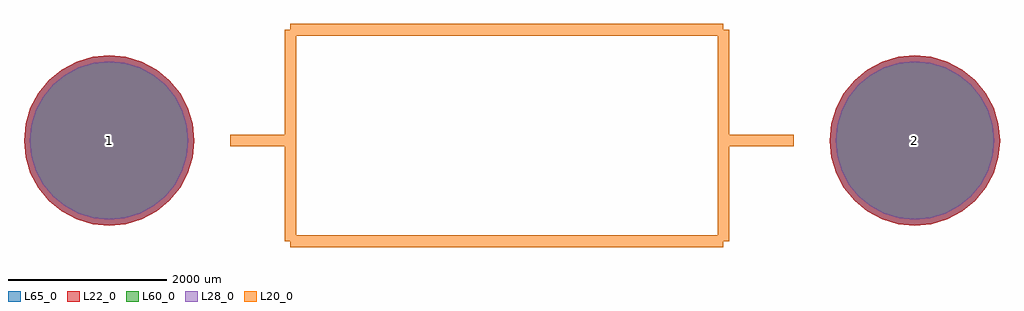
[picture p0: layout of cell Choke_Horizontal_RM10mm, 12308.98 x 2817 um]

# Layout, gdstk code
import gdstk
lib = gdstk.Library(unit=1e-6, precision=1e-09)
def P(c, l, *ps):  # polygons
    for p in ps: c.add(gdstk.Polygon(p, *l))
L20_0 = (20, 0)
L22_0 = (22, 0)
L28_0 = (28, 0)
L60_0 = (60, 0)
L65_0 = (65, 0)

choke_horizontal_rm10mm = lib.new_cell('Choke_Horizontal_RM10mm')
P(choke_horizontal_rm10mm, L22_0, [(6233.23,0),(6212.584,209.623),(6151.439,411.19),(6052.146,596.955),(5918.519,759.779),(5755.695,893.406),(5569.93,992.699),(5368.363,1053.844),(5158.74,1074.49),(4949.117,1053.844),(4747.55,992.699),(4561.785,893.406),(4398.961,759.779),(4265.334,596.955),(4166.041,411.19),(4104.896,209.623),(4084.25,0),(4104.896,-209.623),(4166.041,-411.19),(4265.334,-596.955),(4398.961,-759.779),(4561.785,-893.406),(4747.55,-992.699),(4949.117,-1053.844),(5158.74,-1074.49),(5368.363,-1053.844),(5569.93,-992.699),(5755.695,-893.406),(5918.519,-759.779),(6052.146,-596.955),(6151.439,-411.19),(6212.584,-209.623)],
  [(-3926.77,0),(-3947.416,209.623),(-4008.561,411.19),(-4107.854,596.955),(-4241.481,759.779),(-4404.305,893.406),(-4590.07,992.699),(-4791.637,1053.844),(-5001.26,1074.49),(-5210.883,1053.844),(-5412.45,992.699),(-5598.215,893.406),(-5761.039,759.779),(-5894.666,596.955),(-5993.959,411.19),(-6055.104,209.623),(-6075.75,0),(-6055.104,-209.623),(-5993.959,-411.19),(-5894.666,-596.955),(-5761.039,-759.779),(-5598.215,-893.406),(-5412.45,-992.699),(-5210.883,-1053.844),(-5001.26,-1074.49),(-4791.637,-1053.844),(-4590.07,-992.699),(-4404.305,-893.406),(-4241.481,-759.779),(-4107.854,-596.955),(-4008.561,-411.19),(-3947.416,-209.623)])
P(choke_horizontal_rm10mm, L28_0, [(6158.23,0),(6139.025,194.991),(6082.148,382.488),(5989.786,555.287),(5865.486,706.746),(5714.027,831.046),(5541.228,923.408),(5353.731,980.285),(5158.74,999.49),(4963.749,980.285),(4776.252,923.408),(4603.453,831.046),(4451.994,706.746),(4327.694,555.287),(4235.332,382.488),(4178.455,194.991),(4159.25,0),(4178.455,-194.991),(4235.332,-382.488),(4327.694,-555.287),(4451.994,-706.746),(4603.453,-831.046),(4776.252,-923.408),(4963.749,-980.285),(5158.74,-999.49),(5353.731,-980.285),(5541.228,-923.408),(5714.027,-831.046),(5865.486,-706.746),(5989.786,-555.287),(6082.148,-382.488),(6139.025,-194.991)],
  [(-4001.77,0),(-4020.975,194.991),(-4077.852,382.488),(-4170.214,555.287),(-4294.514,706.746),(-4445.973,831.046),(-4618.772,923.408),(-4806.269,980.285),(-5001.26,999.49),(-5196.251,980.285),(-5383.748,923.408),(-5556.547,831.046),(-5708.006,706.746),(-5832.306,555.287),(-5924.668,382.488),(-5981.545,194.991),(-6000.75,0),(-5981.545,-194.991),(-5924.668,-382.488),(-5832.306,-555.287),(-5708.006,-706.746),(-5556.547,-831.046),(-5383.748,-923.408),(-5196.251,-980.285),(-5001.26,-999.49),(-4806.269,-980.285),(-4618.772,-923.408),(-4445.973,-831.046),(-4294.514,-706.746),(-4170.214,-555.287),(-4077.852,-382.488),(-4020.975,-194.991)])
P(choke_horizontal_rm10mm, L60_0, [(6158.23,0),(6139.025,194.991),(6082.148,382.488),(5989.786,555.287),(5865.486,706.746),(5714.027,831.046),(5541.228,923.408),(5353.731,980.285),(5158.74,999.49),(4963.749,980.285),(4776.252,923.408),(4603.453,831.046),(4451.994,706.746),(4327.694,555.287),(4235.332,382.488),(4178.455,194.991),(4159.25,0),(4178.455,-194.991),(4235.332,-382.488),(4327.694,-555.287),(4451.994,-706.746),(4603.453,-831.046),(4776.252,-923.408),(4963.749,-980.285),(5158.74,-999.49),(5353.731,-980.285),(5541.228,-923.408),(5714.027,-831.046),(5865.486,-706.746),(5989.786,-555.287),(6082.148,-382.488),(6139.025,-194.991)],
  [(-4001.77,0),(-4020.975,194.991),(-4077.852,382.488),(-4170.214,555.287),(-4294.514,706.746),(-4445.973,831.046),(-4618.772,923.408),(-4806.269,980.285),(-5001.26,999.49),(-5196.251,980.285),(-5383.748,923.408),(-5556.547,831.046),(-5708.006,706.746),(-5832.306,555.287),(-5924.668,382.488),(-5981.545,194.991),(-6000.75,0),(-5981.545,-194.991),(-5924.668,-382.488),(-5832.306,-555.287),(-5708.006,-706.746),(-5556.547,-831.046),(-5383.748,-923.408),(-5196.251,-980.285),(-5001.26,-999.49),(-4806.269,-980.285),(-4618.772,-923.408),(-4445.973,-831.046),(-4294.514,-706.746),(-4170.214,-555.287),(-4077.852,-382.488),(-4020.975,-194.991)])
P(choke_horizontal_rm10mm, L65_0, [(6233.23,0),(6212.584,209.623),(6151.439,411.19),(6052.146,596.955),(5918.519,759.779),(5755.695,893.406),(5569.93,992.699),(5368.363,1053.844),(5158.74,1074.49),(4949.117,1053.844),(4747.55,992.699),(4561.785,893.406),(4398.961,759.779),(4265.334,596.955),(4166.041,411.19),(4104.896,209.623),(4084.25,0),(4104.896,-209.623),(4166.041,-411.19),(4265.334,-596.955),(4398.961,-759.779),(4561.785,-893.406),(4747.55,-992.699),(4949.117,-1053.844),(5158.74,-1074.49),(5368.363,-1053.844),(5569.93,-992.699),(5755.695,-893.406),(5918.519,-759.779),(6052.146,-596.955),(6151.439,-411.19),(6212.584,-209.623)],
  [(-3926.77,0),(-3947.416,209.623),(-4008.561,411.19),(-4107.854,596.955),(-4241.481,759.779),(-4404.305,893.406),(-4590.07,992.699),(-4791.637,1053.844),(-5001.26,1074.49),(-5210.883,1053.844),(-5412.45,992.699),(-5598.215,893.406),(-5761.039,759.779),(-5894.666,596.955),(-5993.959,411.19),(-6055.104,209.623),(-6075.75,0),(-6055.104,-209.623),(-5993.959,-411.19),(-5894.666,-596.955),(-5761.039,-759.779),(-5598.215,-893.406),(-5412.45,-992.699),(-5210.883,-1053.844),(-5001.26,-1074.49),(-4791.637,-1053.844),(-4590.07,-992.699),(-4404.305,-893.406),(-4241.481,-759.779),(-4107.854,-596.955),(-4008.561,-411.19),(-3947.416,-209.623)])
choke_horizontal_rm10mm.add(gdstk.FlexPath([(2745.74,-1270),(-2715.26,-1270)], 149.998, ends="flush", simple_path=True, layer=20, datatype=0))  # L20_0
choke_horizontal_rm10mm.add(gdstk.FlexPath([(2745.74,1397),(2745.74,-1270)], 149.998, ends="flush", simple_path=True, layer=20, datatype=0))  # L20_0
choke_horizontal_rm10mm.add(gdstk.FlexPath([(-2715.26,1397),(2745.74,1397)], 149.998, ends="flush", simple_path=True, layer=20, datatype=0))  # L20_0
choke_horizontal_rm10mm.add(gdstk.FlexPath([(-2715.26,-1270),(-2715.26,1397)], 149.998, ends="flush", simple_path=True, layer=20, datatype=0))  # L20_0
choke_horizontal_rm10mm.add(gdstk.FlexPath([(2745.74,0),(3634.74,0)], 149.998, ends="flush", simple_path=True, layer=20, datatype=0))  # L20_0
choke_horizontal_rm10mm.add(gdstk.FlexPath([(-2715.26,0),(-3477.26,0)], 149.998, ends="flush", simple_path=True, layer=20, datatype=0))  # L20_0
choke_horizontal_rm10mm.add(gdstk.Label('2', (5158.74,0), layer=28, texttype=0))
choke_horizontal_rm10mm.add(gdstk.Label('1', (-5001.26,0), layer=28, texttype=0))
choke_horizontal_rm10mm.add(gdstk.Label('type', (0,-4000.5), layer=9, texttype=0))
choke_horizontal_rm10mm.add(gdstk.Label('devicename', (0,3500.12), layer=9, texttype=0))

lib.write_gds('Choke_Horizontal_RM10mm.gds')
